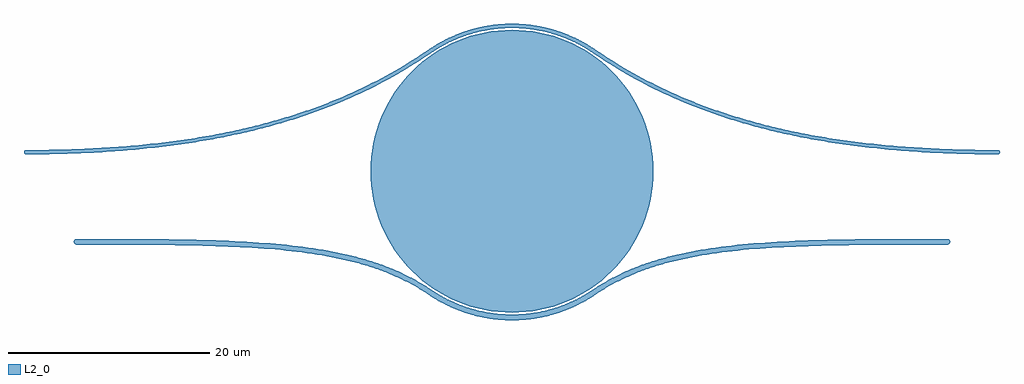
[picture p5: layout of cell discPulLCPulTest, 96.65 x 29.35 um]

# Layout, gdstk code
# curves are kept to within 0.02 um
import gdstk
lib = gdstk.Library(unit=1e-6, precision=1e-09)
def P(c, l, *ps):  # polygons
    for p in ps: c.add(gdstk.Polygon(p, *l))
L2_0 = (2, 0)

discpullcpultest = lib.new_cell('discPulLCPulTest')
P(discpullcpultest, L2_0, [(10,6),(8.628,6.067),(7.269,6.269),(5.936,6.603),(4.642,7.066),(3.4,7.653),(2.222,8.359),(1.118,9.178),(0.101,10.101),(-0.822,11.118),(-1.641,12.222),(-2.347,13.4),(-2.934,14.642),(-3.397,15.936),(-3.731,17.269),(-3.933,18.628),(-4,20),(-3.933,21.372),(-3.731,22.731),(-3.397,24.064),(-2.934,25.358),(-2.347,26.6),(-1.641,27.778),(-0.822,28.882),(0.101,29.899),(1.118,30.822),(2.222,31.641),(3.4,32.347),(4.642,32.934),(5.936,33.397),(7.269,33.731),(8.628,33.933),(10,34),(11.372,33.933),(12.731,33.731),(14.064,33.397),(15.358,32.934),(16.6,32.347),(17.778,31.641),(18.882,30.822),(19.899,29.899),(20.822,28.882),(21.641,27.778),(22.347,26.6),(22.934,25.358),(23.397,24.064),(23.731,22.731),(23.933,21.372),(24,20),(23.933,18.628),(23.731,17.269),(23.397,15.936),(22.934,14.642),(22.347,13.4),(21.641,12.222),(20.822,11.118),(19.899,10.101),(18.882,9.178),(17.778,8.359),(16.6,7.653),(15.358,7.066),(14.064,6.603),(12.731,6.269),(11.372,6.067)],
  [(-38.127,21.688),(-38.127,22.088),(-34.483,22.136),(-30.611,22.302),(-26.58,22.62),(-23.549,22.971),(-21.032,23.345),(-18.634,23.778),(-16.352,24.269),(-14.179,24.815),(-11.822,25.503),(-9.592,26.255),(-7.226,27.174),(-5.241,28.051),(-3.819,28.744),(-2.007,29.712),(0.135,30.986),(2.667,32.625),(3.574,33.11),(4.513,33.53),(5.807,33.985),(7.138,34.317),(8.63,34.536),(10,34.6),(10,34.2),(8.601,34.131),(7.807,34.03),(7.085,33.898),(5.73,33.543),(4.479,33.083),(3.69,32.721),(2.81,32.245),(0.328,30.635),(-1.83,29.353),(-3.655,28.379),(-5.086,27.682),(-7.084,26.8),(-9.465,25.876),(-11.997,25.029),(-14.383,24.346),(-16.906,23.733),(-19.574,23.192),(-22.395,22.728),(-25.376,22.345),(-28.527,22.046),(-31.428,21.856),(-34.47,21.736)],
  [(58.127,21.688),(54.47,21.736),(51.428,21.856),(48.527,22.046),(45.376,22.345),(42.395,22.728),(39.574,23.192),(36.906,23.733),(34.383,24.346),(31.997,25.029),(29.465,25.876),(27.084,26.8),(25.086,27.682),(23.655,28.379),(21.83,29.353),(19.672,30.635),(17.19,32.245),(16.31,32.721),(15.521,33.083),(14.27,33.543),(12.915,33.898),(12.193,34.03),(11.399,34.131),(10,34.2),(10,34.6),(11.37,34.536),(12.862,34.317),(14.193,33.985),(15.487,33.53),(16.426,33.11),(17.333,32.625),(19.865,30.986),(22.007,29.712),(23.819,28.744),(25.241,28.051),(27.226,27.174),(29.592,26.255),(31.822,25.503),(34.179,24.815),(36.352,24.269),(38.634,23.778),(41.032,23.345),(43.549,22.971),(46.58,22.62),(50.611,22.302),(54.483,22.136),(58.127,22.088)],
  [(10,5.25),(8.833,5.296),(7.538,5.457),(6.395,5.697),(5.21,6.049),(4.059,6.499),(3.192,6.915),(2.412,7.351),(1.051,8.226),(0.166,8.744),(-0.933,9.311),(-2.077,9.821),(-3.472,10.349),(-4.935,10.809),(-6.696,11.257),(-8.321,11.587),(-9.778,11.827),(-11.821,12.092),(-13.996,12.3),(-16.296,12.458),(-19.359,12.594),(-22.641,12.676),(-26.887,12.722),(-33.107,12.733),(-33.214,12.755),(-33.319,12.834),(-33.377,12.953),(-33.377,13.064),(-33.282,13.221),(-33.107,13.283),(-23.995,13.246),(-18.691,13.12),(-15.661,12.971),(-12.836,12.75),(-10.196,12.443),(-8.209,12.125),(-6.789,11.841),(-5.207,11.455),(-3.909,11.073),(-2.664,10.643),(-1.273,10.074),(0.055,9.429),(1.147,8.812),(2.981,7.656),(3.681,7.283),(4.462,6.924),(5.829,6.426),(7.11,6.097),(8.547,5.874),(10,5.8)],
  [(10,5.25),(10,5.8),(11.453,5.874),(12.89,6.097),(14.171,6.426),(15.538,6.924),(16.319,7.283),(17.019,7.656),(18.853,8.812),(19.945,9.429),(21.273,10.074),(22.664,10.643),(23.909,11.073),(25.207,11.455),(26.789,11.841),(28.209,12.125),(30.196,12.443),(32.836,12.75),(35.661,12.971),(38.691,13.12),(43.995,13.246),(53.107,13.283),(53.282,13.221),(53.377,13.064),(53.377,12.953),(53.319,12.834),(53.214,12.755),(53.107,12.733),(46.887,12.722),(42.641,12.676),(39.359,12.594),(36.296,12.458),(33.996,12.3),(31.821,12.092),(29.778,11.827),(28.321,11.587),(26.696,11.257),(24.935,10.809),(23.472,10.349),(22.077,9.821),(20.933,9.311),(19.834,8.744),(18.949,8.226),(17.588,7.351),(16.808,6.915),(15.941,6.499),(14.79,6.049),(13.605,5.697),(12.462,5.457),(11.167,5.296)],
  [(58.127,21.688),(58.127,22.088),(58.205,22.072),(58.268,22.029),(58.311,21.966),(58.327,21.888),(58.311,21.81),(58.268,21.746),(58.205,21.703)],
  [(-38.127,21.688),(-38.205,21.703),(-38.268,21.746),(-38.311,21.81),(-38.327,21.888),(-38.311,21.966),(-38.268,22.029),(-38.205,22.072),(-38.127,22.088)])

lib.write_gds('discPulLCPulTest.gds')
